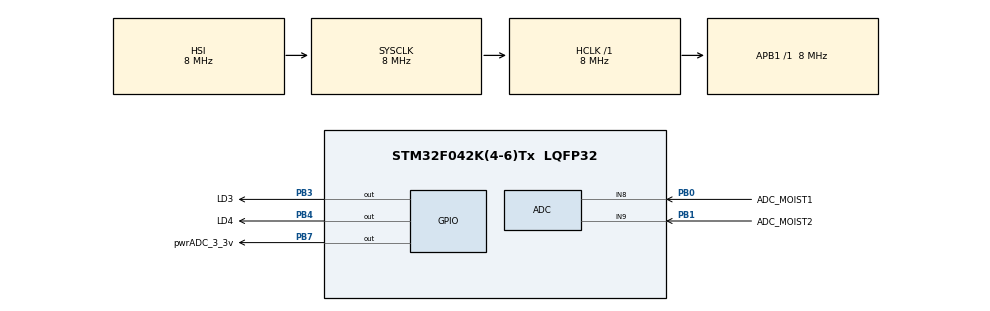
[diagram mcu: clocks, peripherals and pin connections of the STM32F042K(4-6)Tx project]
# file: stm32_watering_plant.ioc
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ADC.ClockPrescaler=ADC_CLOCK_ASYNC_DIV1
ADC.DiscontinuousConvMode=ENABLE
Dma.ADC.0.Direction=DMA_PERIPH_TO_MEMORY
Dma.ADC.0.Instance=DMA1_Channel1
Dma.ADC.0.MemDataAlignment=DMA_MDATAALIGN_HALFWORD
Dma.ADC.0.MemInc=DMA_MINC_ENABLE
Dma.ADC.0.Mode=DMA_CIRCULAR
Dma.ADC.0.PeriphDataAlignment=DMA_PDATAALIGN_HALFWORD
Dma.ADC.0.PeriphInc=DMA_PINC_DISABLE
Dma.ADC.0.Priority=DMA_PRIORITY_LOW
Dma.Request0=ADC
Mcu.Family=STM32F0
Mcu.Name=STM32F042K(4-6)Tx
Mcu.Package=LQFP32
NVIC.DMA1_Channel1_IRQn=true\:0\:0\:false\:true\:true\:3\:false\:true\:true
NVIC.RCC_CRS_IRQn=true\:0\:0\:false\:true\:true\:2\:true\:false\:true
NVIC.RTC_IRQn=true\:0\:0\:false\:true\:true\:1\:true\:true\:true
PB0.GPIO_Label=ADC_MOIST1
PB0.Mode=IN8
PB0.Signal=ADC_IN8
PB1.GPIO_Label=ADC_MOIST2
PB1.Mode=IN9
PB1.Signal=ADC_IN9
PB3.GPIO_Label=LD3
PB3.Signal=GPIO_Output
PB4.GPIO_Label=LD4
PB4.Signal=GPIO_Output
PB7.GPIO_Label=pwrADC_3_3v
PB7.PinState=GPIO_PIN_SET
PB7.Signal=GPIO_Output
PF0-OSC_IN.Mode=HSE-External-Oscillator
PF0-OSC_IN.Signal=RCC_OSC_IN
PF1-OSC_OUT.Mode=HSE-External-Oscillator
PF1-OSC_OUT.Signal=RCC_OSC_OUT
ProjectManager.HeapSize=0x200
ProjectManager.StackSize=0x400
ProjectManager.TargetToolchain=STM32CubeIDE
RCC.AHBFreq_Value=8000000
RCC.APB1Freq_Value=8000000
RCC.APB1TimFreq_Value=8000000
RCC.HCLKFreq_Value=8000000
RCC.SYSCLKFreq_VALUE=8000000
RTC.Alarm=RTC_ALARM_A
RTC.AlarmMaskDateWeekDay=RTC_ALARMMASK_DATEWEEKDAY
RTC.AlarmMaskHours=RTC_ALARMMASK_HOURS
RTC.AlarmMaskSeconds=RTC_ALARMMASK_SECONDS
RTC.Minutes_A=1
RTC.Seconds_A=0
RTC.Year=0
VP_RTC_VS_RTC_Activate.Mode=RTC_Enabled
VP_RTC_VS_RTC_Alarm_A_Intern.Mode=Alarm A
VP_RTC_VS_RTC_Calendar.Mode=RTC_Calendar
board=custom

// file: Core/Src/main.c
/* USER CODE BEGIN Header */
/**
  ******************************************************************************
  * @file           : main.c
  * @brief          : Main program body
  ******************************************************************************
  * @attention
  *
  * Copyright (c) 2023 STMicroelectronics.
  * All rights reserved.
  *
  * This software is licensed under terms that can be found in the LICENSE file
  * in the root directory of this software component.
  * If no LICENSE file comes with this software, it is provided AS-IS.
  *
  ******************************************************************************
  */
/* USER CODE END Header */
#include "main.h"

/* USER CODE BEGIN Includes */
#include <stdio.h>
#include <string.h>
/* USER CODE END Includes */

/* USER CODE BEGIN PD */
#define TRUE 1
#define FALSE 0
/* USER CODE END PD */

ADC_HandleTypeDef hadc;
DMA_HandleTypeDef hdma_adc;

RTC_HandleTypeDef hrtc;

/* USER CODE BEGIN PV */
uint8_t isInit_over = FALSE;
uint8_t isLight_On =  FALSE;
/* USER CODE END PV */

void SystemClock_Config(void);
static void MX_GPIO_Init(void);
static void MX_DMA_Init(void);
static void MX_ADC_Init(void);
static void MX_RTC_Init(void);
static void MX_NVIC_Init(void);

/* USER CODE BEGIN 0 */

void HAL_RTC_AlarmAEventCallback(RTC_HandleTypeDef *hrtc)
{
	// Wakeup from Stopmode
	  SystemClock_Config();
	  HAL_ResumeTick();

	  RTC_AlarmTypeDef sAlarm;
	  GPIO_InitTypeDef GPIO_InitStruct;

	  GPIO_InitStruct.Pin = GPIO_PIN_7;
	  GPIO_InitStruct.Mode = GPIO_MODE_OUTPUT_PP;
	  GPIO_InitStruct.Pull = GPIO_NOPULL;
	  GPIO_InitStruct.Speed = GPIO_SPEED_FREQ_LOW;
	  HAL_GPIO_Init(GPIOB, &GPIO_InitStruct);
	  HAL_GPIO_WritePin(pwrADC_3_3v_GPIO_Port, pwrADC_3_3v_Pin, 1);
	  // Configure PB0 and PB1 as analog inputs
	  GPIO_InitStruct.Pin = GPIO_PIN_0 | GPIO_PIN_1;
	  GPIO_InitStruct.Mode = GPIO_MODE_ANALOG;
	  GPIO_InitStruct.Pull = GPIO_NOPULL;
	  HAL_GPIO_Init(GPIOB, &GPIO_InitStruct);

	  // Get ADC Moisture Values
	  HAL_ADC_Start(&hadc);
	  HAL_ADC_PollForConversion(&hadc, HAL_MAX_DELAY);
	  int moist_1_sens = HAL_ADC_GetValue(&hadc);

	  HAL_ADC_Start(&hadc);
	  HAL_ADC_PollForConversion(&hadc, HAL_MAX_DELAY);
	  int moist_2_sens = HAL_ADC_GetValue(&hadc);

	  //Activate the pump while the the moisture is to low
	  while(moist_1_sens < 2650 && moist_2_sens < 2500)
	  {
	    HAL_GPIO_WritePin(LD3_GPIO_Port, LD3_Pin, 1);
		HAL_ADC_Start(&hadc);
		HAL_ADC_PollForConversion(&hadc, HAL_MAX_DELAY);
		moist_1_sens = HAL_ADC_GetValue(&hadc);

		HAL_ADC_Start(&hadc);
		HAL_ADC_PollForConversion(&hadc, HAL_MAX_DELAY);
		moist_2_sens = HAL_ADC_GetValue(&hadc);
	  }

	  HAL_GPIO_WritePin(pwrADC_3_3v_GPIO_Port, pwrADC_3_3v_Pin, 0);
	  GPIOB->MODER &= ~(GPIO_MODER_MODER7_Msk); // set mode to input mode (reset state)
	  GPIOB->PUPDR &= ~(GPIO_PUPDR_PUPDR7_Msk); // disable pull-up and pull-down resistors
	  // Configure the GPIO pins as analog inputs
	  GPIO_InitStruct.Pin = GPIO_PIN_0 | GPIO_PIN_1;
	  GPIO_InitStruct.Mode = GPIO_MODE_ANALOG;
	  GPIO_InitStruct.Pull = GPIO_NOPULL;
	  HAL_GPIO_Init(GPIOA, &GPIO_InitStruct);

	  //Turn on light and stop for 9h or turn of and wakeup for 14
	  if (isLight_On == TRUE)
	  {
		  HAL_RTC_GetAlarm(hrtc,&sAlarm,RTC_ALARM_A,FORMAT_BIN);
		  if(sAlarm.AlarmTime.Minutes>55) {
		    sAlarm.AlarmTime.Minutes=0;
		  }else{
		    sAlarm.AlarmTime.Minutes=sAlarm.AlarmTime.Minutes+2;
		  }
		    while(HAL_RTC_SetAlarm_IT(hrtc, &sAlarm, FORMAT_BIN)!=HAL_OK){}
		  HAL_GPIO_WritePin(LD4_GPIO_Port, LD4_Pin, 0);
		  isLight_On = FALSE;
	  }
	  else
	  {
		  HAL_RTC_GetAlarm(hrtc,&sAlarm,RTC_ALARM_A,FORMAT_BIN);
		  if(sAlarm.AlarmTime.Minutes>55) {
		    sAlarm.AlarmTime.Minutes=0;
		  }else{
		    sAlarm.AlarmTime.Minutes=sAlarm.AlarmTime.Minutes+1;
		  }
		    while(HAL_RTC_SetAlarm_IT(hrtc, &sAlarm, FORMAT_BIN)!=HAL_OK){}

		  HAL_GPIO_WritePin(LD4_GPIO_Port, LD4_Pin, 1);
		  isLight_On = TRUE;
	  }

	  HAL_GPIO_WritePin(LD3_GPIO_Port, LD3_Pin, 0);

}

/* USER CODE END 0 */

int main(void)
{

  /* MCU Configuration--------------------------------------------------------*/

  /* Reset of all peripherals, Initializes the Flash interface and the Systick. */
  HAL_Init();

  /* Configure the system clock */
  SystemClock_Config();

  /* Initialize all configured peripherals */
  MX_GPIO_Init();
  MX_DMA_Init();
  MX_ADC_Init();
  MX_RTC_Init();

  /* Initialize interrupts */
  MX_NVIC_Init();
  /* USER CODE BEGIN 2 */
  isInit_over = TRUE;

  /* USER CODE END 2 */

  /* Infinite loop */
  /* USER CODE BEGIN WHILE */
  while (1)
  {
	    HAL_SuspendTick();
	    HAL_PWR_EnterSTOPMode(PWR_LOWPOWERREGULATOR_ON, PWR_STOPENTRY_WFI);
    /* USER CODE END WHILE */

  }
}

void SystemClock_Config(void)
{
  RCC_OscInitTypeDef RCC_OscInitStruct = {0};
  RCC_ClkInitTypeDef RCC_ClkInitStruct = {0};
  RCC_PeriphCLKInitTypeDef PeriphClkInit = {0};

  /** Initializes the RCC Oscillators according to the specified parameters
  * in the RCC_OscInitTypeDef structure.
  */
  RCC_OscInitStruct.OscillatorType = RCC_OSCILLATORTYPE_HSI|RCC_OSCILLATORTYPE_HSI14
                              |RCC_OSCILLATORTYPE_LSI;
  RCC_OscInitStruct.HSIState = RCC_HSI_ON;
  RCC_OscInitStruct.HSI14State = RCC_HSI14_ON;
  RCC_OscInitStruct.HSICalibrationValue = RCC_HSICALIBRATION_DEFAULT;
  RCC_OscInitStruct.HSI14CalibrationValue = 16;
  RCC_OscInitStruct.LSIState = RCC_LSI_ON;
  RCC_OscInitStruct.PLL.PLLState = RCC_PLL_NONE;
  if (HAL_RCC_OscConfig(&RCC_OscInitStruct) != HAL_OK)
  {
    Error_Handler();
  }

  /** Initializes the CPU, AHB and APB buses clocks
  */
  RCC_ClkInitStruct.ClockType = RCC_CLOCKTYPE_HCLK|RCC_CLOCKTYPE_SYSCLK
                              |RCC_CLOCKTYPE_PCLK1;
  RCC_ClkInitStruct.SYSCLKSource = RCC_SYSCLKSOURCE_HSI;
  RCC_ClkInitStruct.AHBCLKDivider = RCC_SYSCLK_DIV1;
  RCC_ClkInitStruct.APB1CLKDivider = RCC_HCLK_DIV1;

  if (HAL_RCC_ClockConfig(&RCC_ClkInitStruct, FLASH_LATENCY_0) != HAL_OK)
  {
    Error_Handler();
  }
  PeriphClkInit.PeriphClockSelection = RCC_PERIPHCLK_RTC;
  PeriphClkInit.RTCClockSelection = RCC_RTCCLKSOURCE_LSI;
  if (HAL_RCCEx_PeriphCLKConfig(&PeriphClkInit) != HAL_OK)
  {
    Error_Handler();
  }
}

/**
  * @brief NVIC Configuration.
  * @retval None
  */
static void MX_NVIC_Init(void)
{
  /* RTC_IRQn interrupt configuration */
  HAL_NVIC_SetPriority(RTC_IRQn, 0, 0);
  HAL_NVIC_EnableIRQ(RTC_IRQn);
  /* RCC_CRS_IRQn interrupt configuration */
  HAL_NVIC_SetPriority(RCC_CRS_IRQn, 0, 0);
  HAL_NVIC_EnableIRQ(RCC_CRS_IRQn);
  /* DMA1_Channel1_IRQn interrupt configuration */
  HAL_NVIC_SetPriority(DMA1_Channel1_IRQn, 0, 0);
  HAL_NVIC_EnableIRQ(DMA1_Channel1_IRQn);
}

static void MX_ADC_Init(void)
{

  ADC_ChannelConfTypeDef sConfig = {0};

  /** Configure the global features of the ADC (Clock, Resolution, Data Alignment and number of conversion)
  */
  hadc.Instance = ADC1;
  hadc.Init.ClockPrescaler = ADC_CLOCK_ASYNC_DIV1;
  hadc.Init.Resolution = ADC_RESOLUTION_12B;
  hadc.Init.DataAlign = ADC_DATAALIGN_RIGHT;
  hadc.Init.ScanConvMode = ADC_SCAN_DIRECTION_FORWARD;
  hadc.Init.EOCSelection = ADC_EOC_SINGLE_CONV;
  hadc.Init.LowPowerAutoWait = DISABLE;
  hadc.Init.LowPowerAutoPowerOff = DISABLE;
  hadc.Init.ContinuousConvMode = DISABLE;
  hadc.Init.DiscontinuousConvMode = ENABLE;
  hadc.Init.ExternalTrigConv = ADC_SOFTWARE_START;
  hadc.Init.ExternalTrigConvEdge = ADC_EXTERNALTRIGCONVEDGE_NONE;
  hadc.Init.DMAContinuousRequests = DISABLE;
  hadc.Init.Overrun = ADC_OVR_DATA_PRESERVED;
  if (HAL_ADC_Init(&hadc) != HAL_OK)
  {
    Error_Handler();
  }

  /** Configure for the selected ADC regular channel to be converted.
  */
  sConfig.Channel = ADC_CHANNEL_8;
  sConfig.Rank = ADC_RANK_CHANNEL_NUMBER;
  sConfig.SamplingTime = ADC_SAMPLETIME_1CYCLE_5;
  if (HAL_ADC_ConfigChannel(&hadc, &sConfig) != HAL_OK)
  {
    Error_Handler();
  }

  /** Configure for the selected ADC regular channel to be converted.
  */
  sConfig.Channel = ADC_CHANNEL_9;
  if (HAL_ADC_ConfigChannel(&hadc, &sConfig) != HAL_OK)
  {
    Error_Handler();
  }

}

static void MX_RTC_Init(void)
{

  RTC_TimeTypeDef sTime = {0};
  RTC_DateTypeDef sDate = {0};
  RTC_AlarmTypeDef sAlarm = {0};

  /** Initialize RTC Only
  */
  hrtc.Instance = RTC;
  hrtc.Init.HourFormat = RTC_HOURFORMAT_24;
  hrtc.Init.AsynchPrediv = 127;
  hrtc.Init.SynchPrediv = 255;
  hrtc.Init.OutPut = RTC_OUTPUT_DISABLE;
  hrtc.Init.OutPutPolarity = RTC_OUTPUT_POLARITY_HIGH;
  hrtc.Init.OutPutType = RTC_OUTPUT_TYPE_OPENDRAIN;
  if (HAL_RTC_Init(&hrtc) != HAL_OK)
  {
    Error_Handler();
  }

  /** Initialize RTC and set the Time and Date
  */
  sTime.Hours = 0x0;
  sTime.Minutes = 0x0;
  sTime.Seconds = 0x0;
  sTime.DayLightSaving = RTC_DAYLIGHTSAVING_NONE;
  sTime.StoreOperation = RTC_STOREOPERATION_RESET;
  if (HAL_RTC_SetTime(&hrtc, &sTime, RTC_FORMAT_BCD) != HAL_OK)
  {
    Error_Handler();
  }
  sDate.WeekDay = RTC_WEEKDAY_MONDAY;
  sDate.Month = RTC_MONTH_JANUARY;
  sDate.Date = 0x1;
  sDate.Year = 0x0;

  if (HAL_RTC_SetDate(&hrtc, &sDate, RTC_FORMAT_BCD) != HAL_OK)
  {
    Error_Handler();
  }

  /** Enable the Alarm A
  */
  sAlarm.AlarmTime.Hours = 0x0;
  sAlarm.AlarmTime.Minutes = 0x1;
  sAlarm.AlarmTime.Seconds = 0x0;
  sAlarm.AlarmTime.SubSeconds = 0x0;
  sAlarm.AlarmTime.DayLightSaving = RTC_DAYLIGHTSAVING_NONE;
  sAlarm.AlarmTime.StoreOperation = RTC_STOREOPERATION_RESET;
  sAlarm.AlarmMask = RTC_ALARMMASK_DATEWEEKDAY|RTC_ALARMMASK_HOURS
                              |RTC_ALARMMASK_SECONDS;
  sAlarm.AlarmSubSecondMask = RTC_ALARMSUBSECONDMASK_ALL;
  sAlarm.AlarmDateWeekDaySel = RTC_ALARMDATEWEEKDAYSEL_DATE;
  sAlarm.AlarmDateWeekDay = 0x1;
  sAlarm.Alarm = RTC_ALARM_A;
  if (HAL_RTC_SetAlarm_IT(&hrtc, &sAlarm, RTC_FORMAT_BCD) != HAL_OK)
  {
    Error_Handler();
  }

}

static void MX_DMA_Init(void)
{

  /* DMA controller clock enable */
  __HAL_RCC_DMA1_CLK_ENABLE();

}

static void MX_GPIO_Init(void)
{
  GPIO_InitTypeDef GPIO_InitStruct = {0};

  /* GPIO Ports Clock Enable */
  __HAL_RCC_GPIOF_CLK_ENABLE();
  __HAL_RCC_GPIOB_CLK_ENABLE();

  /*Configure GPIO pin Output Level */
  HAL_GPIO_WritePin(GPIOB, LD3_Pin|LD4_Pin, GPIO_PIN_RESET);

  /*Configure GPIO pin Output Level */
  HAL_GPIO_WritePin(pwrADC_3_3v_GPIO_Port, pwrADC_3_3v_Pin, GPIO_PIN_SET);

  /*Configure GPIO pins : LD3_Pin LD4_Pin pwrADC_3_3v_Pin */
  GPIO_InitStruct.Pin = LD3_Pin|LD4_Pin|pwrADC_3_3v_Pin;
  GPIO_InitStruct.Mode = GPIO_MODE_OUTPUT_PP;
  GPIO_InitStruct.Pull = GPIO_NOPULL;
  GPIO_InitStruct.Speed = GPIO_SPEED_FREQ_LOW;
  HAL_GPIO_Init(GPIOB, &GPIO_InitStruct);

}

void Error_Handler(void)
{
  __disable_irq();
  while (1)
  {
  }
}
